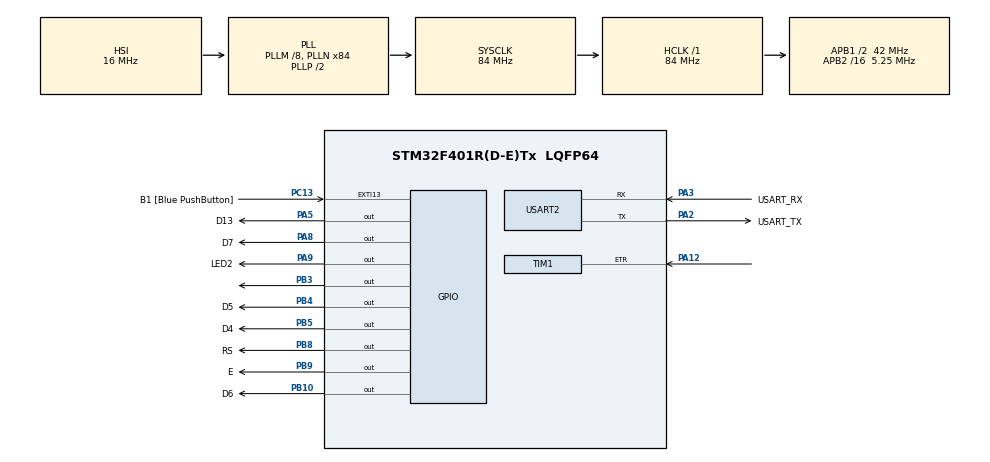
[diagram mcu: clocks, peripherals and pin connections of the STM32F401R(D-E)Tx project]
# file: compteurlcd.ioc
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Mcu.Family=STM32F4
Mcu.Name=STM32F401R(D-E)Tx
Mcu.Package=LQFP64
NVIC.PriorityGroup=NVIC_PRIORITYGROUP_0
NVIC.TIM1_UP_TIM10_IRQn=true\:0\:0\:false\:false\:true\:true\:true\:true
PA12.Signal=S_TIM1_ETR
PA13.GPIO_Label=TMS
PA13.Mode=Serial_Wire
PA13.Signal=SYS_JTMS-SWDIO
PA14.GPIO_Label=TCK
PA14.Mode=Serial_Wire
PA14.Signal=SYS_JTCK-SWCLK
PA2.GPIO_Label=USART_TX
PA2.GPIO_Mode=GPIO_MODE_AF_PP
PA2.GPIO_PuPd=GPIO_NOPULL
PA2.GPIO_Speed=GPIO_SPEED_FREQ_LOW
PA2.Mode=Asynchronous
PA2.Signal=USART2_TX
PA3.GPIO_Label=USART_RX
PA3.GPIO_Mode=GPIO_MODE_AF_PP
PA3.GPIO_PuPd=GPIO_NOPULL
PA3.GPIO_Speed=GPIO_SPEED_FREQ_LOW
PA3.Mode=Asynchronous
PA3.Signal=USART2_RX
PA5.GPIO_Label=D13
PA5.Signal=GPIO_Output
PA8.GPIO_Label=D7
PA8.Signal=GPIO_Output
PA9.GPIO_Label=LED2
PA9.Signal=GPIO_Output
PB10.GPIO_Label=D6
PB10.Signal=GPIO_Output
PB3.Signal=GPIO_Output
PB4.GPIO_Label=D5
PB4.Signal=GPIO_Output
PB5.GPIO_Label=D4
PB5.Signal=GPIO_Output
PB8.GPIO_Label=RS
PB8.Signal=GPIO_Output
PB9.GPIO_Label=E
PB9.Signal=GPIO_Output
PC13-ANTI_TAMP.GPIO_Label=B1 [Blue PushButton]
PC13-ANTI_TAMP.GPIO_ModeDefaultEXTI=GPIO_MODE_IT_FALLING
PC13-ANTI_TAMP.GPIO_PuPd=GPIO_NOPULL
PC13-ANTI_TAMP.Signal=GPXTI13
PC14-OSC32_IN.Mode=LSE-External-Oscillator
PC14-OSC32_IN.Signal=RCC_OSC32_IN
PC15-OSC32_OUT.Mode=LSE-External-Oscillator
PC15-OSC32_OUT.Signal=RCC_OSC32_OUT
PH0\ -\ OSC_IN.Mode=HSE-External-Clock-Source
PH0\ -\ OSC_IN.Signal=RCC_OSC_IN
PH1\ -\ OSC_OUT.Mode=HSE-External-Clock-Source
PH1\ -\ OSC_OUT.Signal=RCC_OSC_OUT
ProjectManager.HeapSize=0x200
ProjectManager.StackSize=0x400
ProjectManager.TargetToolchain=STM32CubeIDE
RCC.48MHZClocksFreq_Value=24000000
RCC.AHBFreq_Value=84000000
RCC.APB1CLKDivider=RCC_HCLK_DIV2
RCC.APB1Freq_Value=42000000
RCC.APB1TimFreq_Value=84000000
RCC.APB2CLKDivider=RCC_HCLK_DIV16
RCC.APB2Freq_Value=5250000
RCC.APB2TimFreq_Value=10500000
RCC.CortexFreq_Value=84000000
RCC.HCLKFreq_Value=84000000
RCC.HSE_VALUE=8000000
RCC.HSI_VALUE=16000000
RCC.PLLM=8
RCC.PLLN=84
RCC.PLLQ=7
RCC.SYSCLKFreq_VALUE=84000000
RCC.SYSCLKSource=RCC_SYSCLKSOURCE_PLLCLK
RCC.VCOOutputFreq_Value=168000000
SH.S_TIM1_ETR.0=TIM1_ETR,ClockSourceETR_Mode2
TIM1.ClockDivision=TIM_CLOCKDIVISION_DIV1
TIM1.Period=10-1
TIM1.Prescaler=1
USART2.VirtualMode=VM_ASYNC
board=NUCLEO-F401RE

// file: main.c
/* USER CODE BEGIN Header */
/**
  ******************************************************************************
  * @file           : main.c
  * @brief          : Main program body
  ******************************************************************************
  * @attention
  *
  * Copyright (c) 2024 STMicroelectronics.
  * All rights reserved.
  *
  * This software is licensed under terms that can be found in the LICENSE file
  * in the root directory of this software component.
  * If no LICENSE file comes with this software, it is provided AS-IS.
  *
  ******************************************************************************
  */
/* USER CODE END Header */
#include "main.h"

/* USER CODE BEGIN Includes */
#include "lcd.h"
/* USER CODE END Includes */

TIM_HandleTypeDef htim1;

UART_HandleTypeDef huart2;

void SystemClock_Config(void);
static void MX_GPIO_Init(void);
static void MX_USART2_UART_Init(void);
static void MX_TIM1_Init(void);

/* USER CODE BEGIN 0 */
uint8_t Buffer[25] = {0};
uint8_t Space[] = "-";
uint8_t StartMSG[] = "Starting I2C scanning \r\n";
uint8_t EndMSG[] = "Done \r\n\r\n";
GPIO_InitTypeDef GPIO_InitStructPrivate = {0};
uint32_t previousMillis = 0;
uint32_t currentMillis = 0;
int i=0;
int j=0;
int k=0;
float val=22.5;
/* USER CODE END 0 */

int main(void)
{

  /* MCU Configuration--------------------------------------------------------*/

  /* Reset of all peripherals, Initializes the Flash interface and the Systick. */
  HAL_Init();

  /* Configure the system clock */
  SystemClock_Config();

  /* Initialize all configured peripherals */
  MX_GPIO_Init();
  MX_USART2_UART_Init();
  MX_TIM1_Init();
  /* USER CODE BEGIN 2 */
  //configuration pins LCD
    Lcd_PortType ports[] = {D4_GPIO_Port,D5_GPIO_Port,D6_GPIO_Port,D7_GPIO_Port };
    //Lcd portType ports[}={GPIOC,GPIOB,GPIOA,GPIOA};
  Lcd_PinType pins[]={D4_Pin,D5_Pin,D6_Pin,D7_Pin};
  //Lcd_PinType pins[]={GPIO_PIN_7,GPIO_PIN_6,GPIO_PIN_7,GPIO_PIN_6};
Lcd_HandleTypeDef lcd;
  lcd=Lcd_create(ports,pins,RS_GPIO_Port,RS_Pin,E_GPIO_Port,E_Pin,LCD_4_BIT_MODE);
  Lcd_cursor(&lcd,0,2);
  Lcd_string(&lcd,"TEST LCD");
 // HAL_TIM_Base_Start(&htim1);
  HAL_TIM_Base_Start_IT(&htim1);
  /* USER CODE END 2 */

  /* Infinite loop */
  /* USER CODE BEGIN WHILE */
  while (1)
  {Lcd_cursor(&lcd,1,7);
  Lcd_int(&lcd,TIM1->CNT);
    /* USER CODE END WHILE */

  }
}

void SystemClock_Config(void)
{
  RCC_OscInitTypeDef RCC_OscInitStruct = {0};
  RCC_ClkInitTypeDef RCC_ClkInitStruct = {0};

  /** Configure the main internal regulator output voltage
  */
  __HAL_RCC_PWR_CLK_ENABLE();
  __HAL_PWR_VOLTAGESCALING_CONFIG(PWR_REGULATOR_VOLTAGE_SCALE2);

  /** Initializes the RCC Oscillators according to the specified parameters
  * in the RCC_OscInitTypeDef structure.
  */
  RCC_OscInitStruct.OscillatorType = RCC_OSCILLATORTYPE_HSI;
  RCC_OscInitStruct.HSIState = RCC_HSI_ON;
  RCC_OscInitStruct.HSICalibrationValue = RCC_HSICALIBRATION_DEFAULT;
  RCC_OscInitStruct.PLL.PLLState = RCC_PLL_ON;
  RCC_OscInitStruct.PLL.PLLSource = RCC_PLLSOURCE_HSI;
  RCC_OscInitStruct.PLL.PLLM = 8;
  RCC_OscInitStruct.PLL.PLLN = 84;
  RCC_OscInitStruct.PLL.PLLP = RCC_PLLP_DIV2;
  RCC_OscInitStruct.PLL.PLLQ = 7;
  if (HAL_RCC_OscConfig(&RCC_OscInitStruct) != HAL_OK)
  {
    Error_Handler();
  }

  /** Initializes the CPU, AHB and APB buses clocks
  */
  RCC_ClkInitStruct.ClockType = RCC_CLOCKTYPE_HCLK|RCC_CLOCKTYPE_SYSCLK
                              |RCC_CLOCKTYPE_PCLK1|RCC_CLOCKTYPE_PCLK2;
  RCC_ClkInitStruct.SYSCLKSource = RCC_SYSCLKSOURCE_PLLCLK;
  RCC_ClkInitStruct.AHBCLKDivider = RCC_SYSCLK_DIV1;
  RCC_ClkInitStruct.APB1CLKDivider = RCC_HCLK_DIV2;
  RCC_ClkInitStruct.APB2CLKDivider = RCC_HCLK_DIV16;

  if (HAL_RCC_ClockConfig(&RCC_ClkInitStruct, FLASH_LATENCY_2) != HAL_OK)
  {
    Error_Handler();
  }
}

static void MX_TIM1_Init(void)
{

  TIM_ClockConfigTypeDef sClockSourceConfig = {0};
  TIM_MasterConfigTypeDef sMasterConfig = {0};

  htim1.Instance = TIM1;
  htim1.Init.Prescaler = 1;
  htim1.Init.CounterMode = TIM_COUNTERMODE_UP;
  htim1.Init.Period = 10-1;
  htim1.Init.ClockDivision = TIM_CLOCKDIVISION_DIV1;
  htim1.Init.RepetitionCounter = 0;
  htim1.Init.AutoReloadPreload = TIM_AUTORELOAD_PRELOAD_DISABLE;
  if (HAL_TIM_Base_Init(&htim1) != HAL_OK)
  {
    Error_Handler();
  }
  sClockSourceConfig.ClockSource = TIM_CLOCKSOURCE_ETRMODE2;
  sClockSourceConfig.ClockPolarity = TIM_CLOCKPOLARITY_NONINVERTED;
  sClockSourceConfig.ClockPrescaler = TIM_CLOCKPRESCALER_DIV1;
  sClockSourceConfig.ClockFilter = 0;
  if (HAL_TIM_ConfigClockSource(&htim1, &sClockSourceConfig) != HAL_OK)
  {
    Error_Handler();
  }
  sMasterConfig.MasterOutputTrigger = TIM_TRGO_RESET;
  sMasterConfig.MasterSlaveMode = TIM_MASTERSLAVEMODE_DISABLE;
  if (HAL_TIMEx_MasterConfigSynchronization(&htim1, &sMasterConfig) != HAL_OK)
  {
    Error_Handler();
  }

}

static void MX_USART2_UART_Init(void)
{

  huart2.Instance = USART2;
  huart2.Init.BaudRate = 115200;
  huart2.Init.WordLength = UART_WORDLENGTH_8B;
  huart2.Init.StopBits = UART_STOPBITS_1;
  huart2.Init.Parity = UART_PARITY_NONE;
  huart2.Init.Mode = UART_MODE_TX_RX;
  huart2.Init.HwFlowCtl = UART_HWCONTROL_NONE;
  huart2.Init.OverSampling = UART_OVERSAMPLING_16;
  if (HAL_UART_Init(&huart2) != HAL_OK)
  {
    Error_Handler();
  }

}

static void MX_GPIO_Init(void)
{
  GPIO_InitTypeDef GPIO_InitStruct = {0};

  /* GPIO Ports Clock Enable */
  __HAL_RCC_GPIOC_CLK_ENABLE();
  __HAL_RCC_GPIOH_CLK_ENABLE();
  __HAL_RCC_GPIOA_CLK_ENABLE();
  __HAL_RCC_GPIOB_CLK_ENABLE();

  /*Configure GPIO pin Output Level */
  HAL_GPIO_WritePin(GPIOA, D13_Pin|D7_Pin|LED2_Pin, GPIO_PIN_RESET);

  /*Configure GPIO pin Output Level */
  HAL_GPIO_WritePin(GPIOB, D6_Pin|GPIO_PIN_3|D5_Pin|D4_Pin
                          |RS_Pin|E_Pin, GPIO_PIN_RESET);

  /*Configure GPIO pin : B1_Pin */
  GPIO_InitStruct.Pin = B1_Pin;
  GPIO_InitStruct.Mode = GPIO_MODE_IT_FALLING;
  GPIO_InitStruct.Pull = GPIO_NOPULL;
  HAL_GPIO_Init(B1_GPIO_Port, &GPIO_InitStruct);

  /*Configure GPIO pins : D13_Pin D7_Pin LED2_Pin */
  GPIO_InitStruct.Pin = D13_Pin|D7_Pin|LED2_Pin;
  GPIO_InitStruct.Mode = GPIO_MODE_OUTPUT_PP;
  GPIO_InitStruct.Pull = GPIO_NOPULL;
  GPIO_InitStruct.Speed = GPIO_SPEED_FREQ_LOW;
  HAL_GPIO_Init(GPIOA, &GPIO_InitStruct);

  /*Configure GPIO pins : D6_Pin PB3 D5_Pin D4_Pin
                           RS_Pin E_Pin */
  GPIO_InitStruct.Pin = D6_Pin|GPIO_PIN_3|D5_Pin|D4_Pin
                          |RS_Pin|E_Pin;
  GPIO_InitStruct.Mode = GPIO_MODE_OUTPUT_PP;
  GPIO_InitStruct.Pull = GPIO_NOPULL;
  GPIO_InitStruct.Speed = GPIO_SPEED_FREQ_LOW;
  HAL_GPIO_Init(GPIOB, &GPIO_InitStruct);

}

/* USER CODE BEGIN 4 */
//void HAL_TIM_PeriodElapsedCallback(TIM_HandleTypeDef *htim)
//{
//if (htim-> Instance==TIM1)
//{
//	i++;
//	j++;
//	k++;
//	if (i==2)
	//{ HAL_GPIO_TogglePin(GPIOB, GPIO_PIN_3);
	//	i=0;}
	//if (j==5)
//	{ HAL_GPIO_TogglePin(GPIOB, GPIO_PIN_4);
		//j=0;}
//	if (k==10)
	//{ HAL_GPIO_TogglePin(GPIOB, GPIO_PIN_5);
	//	k=0;}
//	}
//}
void HAL_TIM_PeriodElapsedCallback(TIM_HandleTypeDef *htim)
{
    if (htim->Instance == TIM1)
    {
        HAL_GPIO_TogglePin(GPIOA, LED2_Pin);
   }
}

/* USER CODE END 4 */

void Error_Handler(void)
{
  __disable_irq();
  while (1)
  {
  }
}
